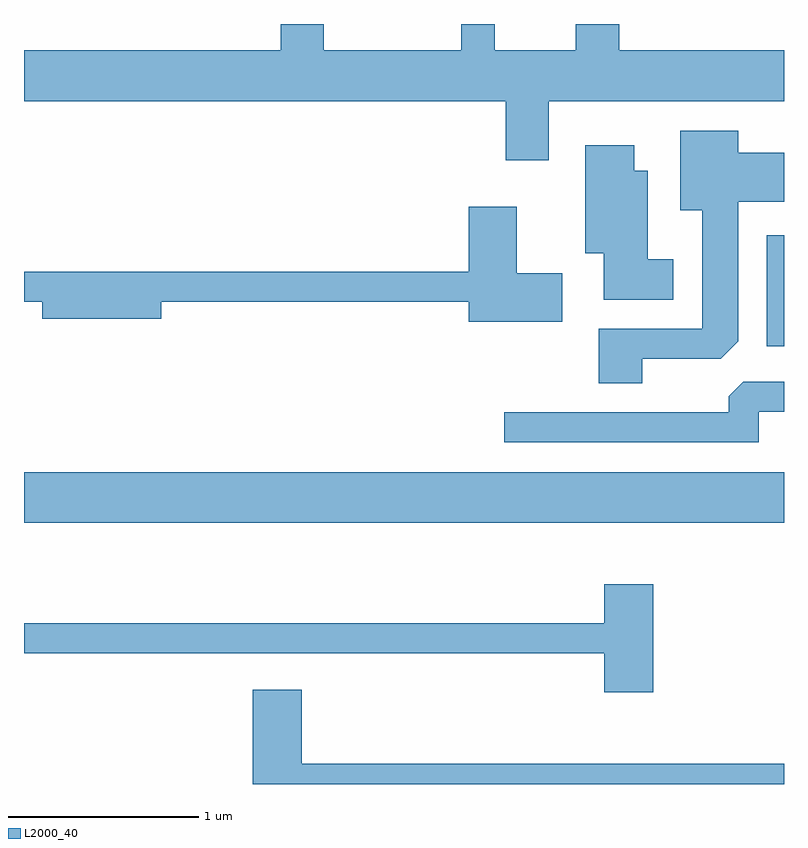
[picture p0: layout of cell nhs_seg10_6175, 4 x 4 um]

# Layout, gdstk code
import gdstk
lib = gdstk.Library(unit=1e-6, precision=1e-09)
def R(c, l, rs):  # rectangles x0, y0, x1, y1
    for r in rs: c.add(gdstk.rectangle(r[:2], r[2:], *l))
def P(c, l, *ps):  # polygons
    for p in ps: c.add(gdstk.Polygon(p, *l))
L2000_40 = (2000, 40)

nhs_seg10_6175 = lib.new_cell('nhs_seg10_6175')
R(nhs_seg10_6175, L2000_40, [(367.611,2133.896,371.611,2134.164), (371.521,2134.826,371.611,2135.409)])
P(nhs_seg10_6175, L2000_40, [(370.374,2136.116),(371.611,2136.116),(371.611,2136.384),(370.744,2136.384),(370.744,2136.522),(370.516,2136.522),(370.516,2136.384),(370.089,2136.384),(370.089,2136.522),(369.911,2136.522),(369.911,2136.384),(369.189,2136.384),(369.189,2136.522),(368.961,2136.522),(368.961,2136.384),(367.611,2136.384),(367.611,2136.116),(370.146,2136.116),(370.146,2135.806),(370.374,2135.806)],
  [(370.864,2134.761),(371.279,2134.761),(371.369,2134.852),(371.369,2135.586),(371.611,2135.586),(371.611,2135.844),(371.369,2135.844),(371.369,2135.959),(371.066,2135.959),(371.066,2135.541),(371.181,2135.541),(371.181,2134.919),(370.636,2134.919),(370.636,2134.631),(370.864,2134.631)],
  [(371.029,2135.284),(370.894,2135.284),(370.894,2135.749),(370.824,2135.749),(370.824,2135.884),(370.566,2135.884),(370.566,2135.316),(370.661,2135.316),(370.661,2135.071),(371.029,2135.071)],
  [(370.444,2135.209),(370.204,2135.209),(370.204,2135.559),(369.951,2135.559),(369.951,2135.219),(367.611,2135.219),(367.611,2135.061),(367.706,2135.061),(367.706,2134.971),(368.334,2134.971),(368.334,2135.061),(369.951,2135.061),(369.951,2134.956),(370.444,2134.956)],
  [(371.479,2134.481),(371.611,2134.481),(371.611,2134.639),(371.397,2134.639),(371.321,2134.564),(371.321,2134.479),(370.138,2134.479),(370.138,2134.321),(371.479,2134.321)],
  [(370.924,2133.574),(370.666,2133.574),(370.666,2133.369),(367.611,2133.369),(367.611,2133.211),(370.666,2133.211),(370.666,2133.006),(370.924,2133.006)],
  [(371.611,2132.629),(369.074,2132.629),(369.074,2133.019),(368.816,2133.019),(368.816,2132.522),(371.611,2132.522)])

lib.write_gds('nhs_seg10_6175.gds')
